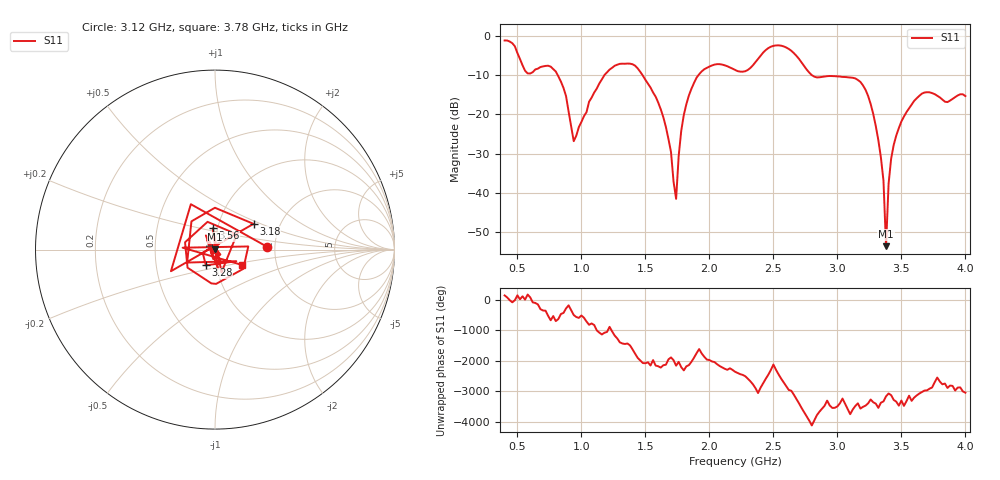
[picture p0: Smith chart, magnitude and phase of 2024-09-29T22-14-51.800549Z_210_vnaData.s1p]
!Created with skrf (http://scikit-rf.org).
# Hz S RI R 50.0
!freq ReS11 ImS11
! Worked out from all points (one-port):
!   181 points, 400 MHz to 4 GHz, reference 50 ohm
!   lowest |S11| = -53.5 dB at 3.38 GHz (marker M1), VSWR 1.00, Z = 50.1 + j0.204 ohm
!   |S11| at or under -10 dB: 814.3 MHz to 1.18 GHz (365.9 MHz wide, 36.7 % of centre); 1.477 GHz to 1.915 GHz (438.6 MHz wide, 25.9 % of centre); 2.799 GHz to end of sweep
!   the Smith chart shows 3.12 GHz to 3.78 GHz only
!   S11 on the Smith chart (normalised r, x): 3.12 GHz: 1.82, +0.06; 3.18 GHz: 1.46, +0.45; 3.28 GHz: 0.89, -0.16; 3.56 GHz: 0.95, +0.23; 3.78 GHz: 1.33, -0.23
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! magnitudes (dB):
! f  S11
! 400 MHz  -1.2
! 580 MHz  -9.6
! 760 MHz  -7.9
! 860 MHz  -13.3
! 940 MHz  -26.8
! 1.14 GHz  -12.1
! 1.3 GHz  -7.2
! 1.42 GHz  -7.6
! 1.6 GHz  -17.0
! 1.7 GHz  -29.6
! 1.74 GHz  -41.5
! 1.76 GHz  -30.6
! 1.8 GHz  -20.2
! 1.9 GHz  -10.7
! 2.2 GHz  -8.7
! 2.66 GHz  -4.4
! 2.82 GHz  -10.4
! 3.1 GHz  -10.6
! 3.12 GHz  -10.7
! 3.18 GHz  -11.8
! 3.28 GHz  -19.9
! 3.36 GHz  -36.9
! 3.38 GHz  -53.5
! 3.4 GHz  -37.6
! 3.42 GHz  -31.2
! 3.56 GHz  -18.5
! 3.78 GHz  -15.3
! 4 GHz  -15.4
